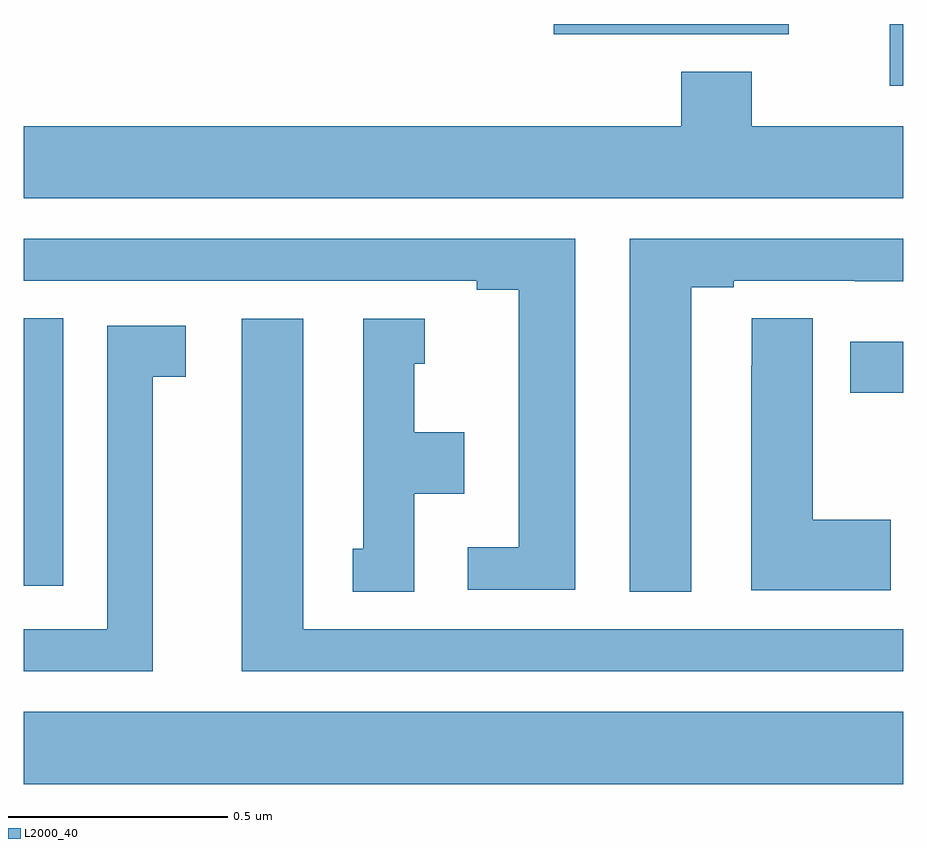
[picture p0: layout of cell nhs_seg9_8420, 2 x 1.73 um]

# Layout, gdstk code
import gdstk
lib = gdstk.Library(unit=1e-6, precision=1e-09)
def R(c, l, rs):  # rectangles x0, y0, x1, y1
    for r in rs: c.add(gdstk.rectangle(r[:2], r[2:], *l))
def P(c, l, *ps):  # polygons
    for p in ps: c.add(gdstk.Polygon(p, *l))
L2000_40 = (2000, 40)

nhs_seg9_8420 = lib.new_cell('nhs_seg9_8420')
R(nhs_seg9_8420, L2000_40, [(217,1177.772,219,1177.936), (217,1178.223,217.09,1178.831), (218.879,1178.662,219,1178.778), (218.969,1179.36,219,1179.5), (218.205,1179.477,218.739,1179.5)])
P(nhs_seg9_8420, L2000_40, [(219,1179.268),(218.655,1179.268),(218.655,1179.392),(218.495,1179.392),(218.495,1179.268),(217,1179.268),(217,1179.104),(219,1179.104)],
  [(218.254,1179.012),(217,1179.012),(217,1178.916),(218.03,1178.916),(218.03,1178.896),(218.126,1178.896),(218.126,1178.31),(218.01,1178.31),(218.01,1178.214),(218.254,1178.214)],
  [(218.518,1178.901),(218.614,1178.901),(218.614,1178.916),(218.89,1178.916),(218.89,1178.915),(219,1178.915),(219,1179.012),(218.378,1179.012),(218.378,1178.209),(218.518,1178.209)],
  [(218.971,1178.373),(218.794,1178.373),(218.794,1178.831),(218.655,1178.831),(218.655,1178.723),(218.654,1178.723),(218.654,1178.213),(218.971,1178.213)],
  [(219,1178.124),(217.636,1178.124),(217.636,1178.83),(217.496,1178.83),(217.496,1178.028),(219,1178.028)],
  [(217.888,1178.432),(218.002,1178.432),(218.002,1178.572),(217.888,1178.572),(217.888,1178.727),(217.912,1178.727),(217.912,1178.83),(217.772,1178.83),(217.772,1178.307),(217.748,1178.307),(217.748,1178.209),(217.888,1178.209)],
  [(217.294,1178.698),(217.369,1178.698),(217.369,1178.814),(217.19,1178.814),(217.19,1178.124),(217,1178.124),(217,1178.028),(217.294,1178.028)])

lib.write_gds('nhs_seg9_8420.gds')
